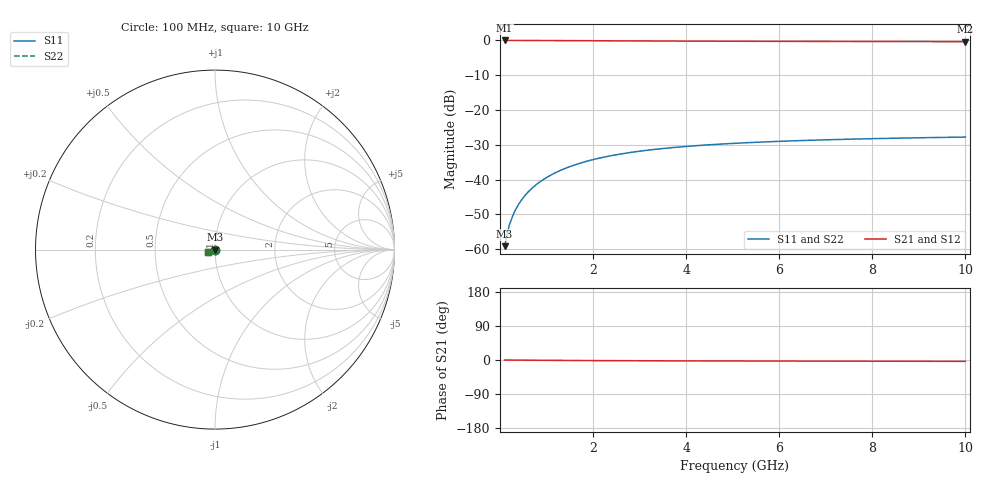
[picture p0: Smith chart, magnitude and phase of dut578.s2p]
! Touchstone file exported from HFSS 2024.1.0
!  File:  C:/UserFiles/LocalFiles/RDL_TSV_Batchsim/temp_TSV1_578_1779708996.aedt
!  Generated:  07:41:28 PM May 25, 2026
!  Design:  TSV1
!  Project:  temp_TSV1_578_1779708996
!  Setup:  Setup1
!  Solution:  Sweep
! Variables:
!  dtsv = 13.43um
!  hbump = 3um
!  htsv = 51.75um
!  lrdl = 252.1521522um
!  p = 40
!  p1 = 44.67um
!  t = 500um
!  trdl = 3um
!  wrdl = 24.89489489um
# GHz S MA R 50.000000
! Terminal data exported
! Port[1] = TSV22_T1
! Port[2] = TSV22_T2
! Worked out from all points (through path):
!   100 points, 100 MHz to 10 GHz, reference 50 ohm
!   highest |S21| = 0.00 dB at 100 MHz (marker M1); lowest = -0.3 dB at 10 GHz (marker M2)
!   lowest |S11| = -59.2 dB at 100 MHz (marker M3), VSWR 1.00, Z = 50 - j0.11 ohm
!   |S11| at or under -10 dB: start of sweep to end of sweep
!   |S22| runs from -59.2 to -27.8 dB; largest |S21 - S12| = 4e-15
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0.1  0.001103 -87.9  0.9999 -0.1  0.9999 -0.1  0.001103 -87.9
! Gamma 0 0 0 0
! Port Impedance 50 0 50 0
0.2  0.002212 -91.1  0.9998 -0.2  0.9998 -0.2  0.002212 -91.1
0.3  0.003318 -93.3  0.9996 -0.3  0.9996 -0.3  0.003318 -93.3
0.4  0.004416 -95.2  0.9994 -0.4  0.9994 -0.4  0.004416 -95.2
0.5  0.005503 -96.9  0.9991 -0.5  0.9991 -0.5  0.005503 -96.9
0.6  0.006576 -98.6  0.9988 -0.5  0.9988 -0.5  0.006576 -98.6
0.7  0.007634 -100.2  0.9984 -0.6  0.9984 -0.6  0.007634 -100.2
0.8  0.008674 -101.8  0.998 -0.7  0.998 -0.7  0.008674 -101.8
0.9  0.009695 -103.3  0.9975 -0.8  0.9975 -0.8  0.009695 -103.3
1.1  0.01167 -106.2  0.9965 -0.9  0.9965 -0.9  0.01167 -106.2
1.4  0.01446 -110.4  0.9947 -1.2  0.9947 -1.2  0.01446 -110.4
1.6  0.01619 -113.0  0.9934 -1.3  0.9934 -1.3  0.01619 -113.0
1.8  0.01782 -115.5  0.992 -1.4  0.992 -1.4  0.01782 -115.5
2.1  0.02007 -119.0  0.99 -1.6  0.99 -1.6  0.02007 -119.0
2.5  0.02273 -123.2  0.9873 -1.8  0.9873 -1.8  0.02273 -123.2
2.9  0.02503 -127.0  0.9848 -1.9  0.9848 -1.9  0.02503 -127.0
3.4  0.02749 -131.1  0.9818 -2.1  0.9818 -2.1  0.02749 -131.1
4.2  0.03064 -136.6  0.9776 -2.3  0.9776 -2.3  0.03064 -136.6
5.1  0.03335 -141.5  0.9737 -2.6  0.9737 -2.6  0.03335 -141.5
6.7  0.03678 -148.1  0.9685 -2.9  0.9685 -2.9  0.03678 -148.1
8.4  0.03921 -153.3  0.9647 -3.3  0.9647 -3.3  0.03921 -153.3
10  0.04081 -157.1  0.962 -3.6  0.962 -3.6  0.04081 -157.1
